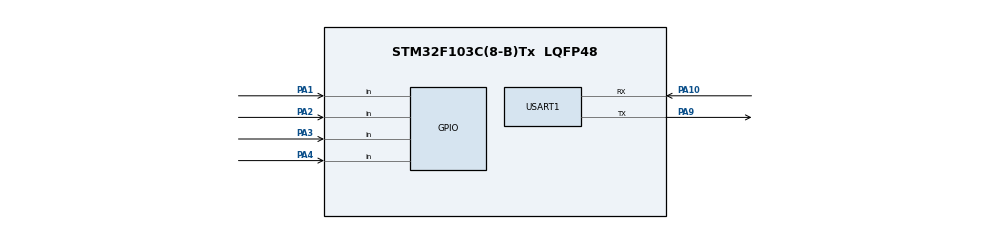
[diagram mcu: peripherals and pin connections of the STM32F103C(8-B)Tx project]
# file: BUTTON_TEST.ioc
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Mcu.Family=STM32F1
Mcu.Name=STM32F103C(8-B)Tx
Mcu.Package=LQFP48
NVIC.PriorityGroup=NVIC_PRIORITYGROUP_4
PA1.GPIO_PuPd=GPIO_PULLUP
PA1.Signal=GPIO_Input
PA10.Mode=Asynchronous
PA10.Signal=USART1_RX
PA13.Mode=Serial_Wire
PA13.Signal=SYS_JTMS-SWDIO
PA14.Mode=Serial_Wire
PA14.Signal=SYS_JTCK-SWCLK
PA2.GPIO_PuPd=GPIO_PULLUP
PA2.Signal=GPIO_Input
PA3.GPIO_PuPd=GPIO_PULLUP
PA3.Signal=GPIO_Input
PA4.GPIO_PuPd=GPIO_PULLUP
PA4.Signal=GPIO_Input
PA9.Mode=Asynchronous
PA9.Signal=USART1_TX
ProjectManager.HeapSize=0x200
ProjectManager.StackSize=0x400
ProjectManager.TargetToolchain=Makefile
RCC.APB1Freq_Value=8000000
RCC.APB2Freq_Value=8000000
USART1.VirtualMode=VM_ASYNC
board=custom

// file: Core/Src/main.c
/* USER CODE BEGIN Header */
/**
  ******************************************************************************
  * @file           : main.c
  * @brief          : Main program body
  ******************************************************************************
  * @attention
  *
  * Copyright (c) 2026 STMicroelectronics.
  * All rights reserved.
  *
  * This software is licensed under terms that can be found in the LICENSE file
  * in the root directory of this software component.
  * If no LICENSE file comes with this software, it is provided AS-IS.
  *
  ******************************************************************************
  */
/* USER CODE END Header */
#include "main.h"

UART_HandleTypeDef huart1;

void SystemClock_Config(void);
static void MX_GPIO_Init(void);
static void MX_USART1_UART_Init(void);

int main(void)
{

  /* MCU Configuration--------------------------------------------------------*/

  /* Reset of all peripherals, Initializes the Flash interface and the Systick. */
  HAL_Init();

  /* Configure the system clock */
  SystemClock_Config();

  /* Initialize all configured peripherals */
  MX_GPIO_Init();
  MX_USART1_UART_Init();

  /* Infinite loop */
  /* USER CODE BEGIN WHILE */
  while (1)
  {
    // --- 测试 PA1 ---
    if(HAL_GPIO_ReadPin(GPIOA, GPIO_PIN_1) == GPIO_PIN_RESET)
    {
      HAL_Delay(20); // 消抖
      if(HAL_GPIO_ReadPin(GPIOA, GPIO_PIN_1) == GPIO_PIN_RESET)
      {
        uint8_t val = 1;
        HAL_UART_Transmit(&huart1, &val, 1, HAL_MAX_DELAY);
        while(HAL_GPIO_ReadPin(GPIOA, GPIO_PIN_1) == GPIO_PIN_RESET); // 等待释放
      }
    }

    // --- 测试 PA2 ---
    else if(HAL_GPIO_ReadPin(GPIOA, GPIO_PIN_2) == GPIO_PIN_RESET)
    {
      HAL_Delay(20);
      if(HAL_GPIO_ReadPin(GPIOA, GPIO_PIN_2) == GPIO_PIN_RESET)
      {
        uint8_t val = 2;
        HAL_UART_Transmit(&huart1, &val, 1, HAL_MAX_DELAY);
        while(HAL_GPIO_ReadPin(GPIOA, GPIO_PIN_2) == GPIO_PIN_RESET);
      }
    }

    // --- 测试 PA3 ---
    else if(HAL_GPIO_ReadPin(GPIOA, GPIO_PIN_3) == GPIO_PIN_RESET)
    {
      HAL_Delay(20);
      if(HAL_GPIO_ReadPin(GPIOA, GPIO_PIN_3) == GPIO_PIN_RESET)
      {
        uint8_t val = 3;
        HAL_UART_Transmit(&huart1, &val, 1, HAL_MAX_DELAY);
        while(HAL_GPIO_ReadPin(GPIOA, GPIO_PIN_3) == GPIO_PIN_RESET);
      }
    }

    // --- 测试 PA4 ---
    else if(HAL_GPIO_ReadPin(GPIOA, GPIO_PIN_4) == GPIO_PIN_RESET)
    {
      HAL_Delay(20);
      if(HAL_GPIO_ReadPin(GPIOA, GPIO_PIN_4) == GPIO_PIN_RESET)
      {
        uint8_t val = 4;
        HAL_UART_Transmit(&huart1, &val, 1, HAL_MAX_DELAY);
        while(HAL_GPIO_ReadPin(GPIOA, GPIO_PIN_4) == GPIO_PIN_RESET);
      }
    }
  }
    /* USER CODE END WHILE */

  }

void SystemClock_Config(void)
{
  RCC_OscInitTypeDef RCC_OscInitStruct = {0};
  RCC_ClkInitTypeDef RCC_ClkInitStruct = {0};

  /** Initializes the RCC Oscillators according to the specified parameters
  * in the RCC_OscInitTypeDef structure.
  */
  RCC_OscInitStruct.OscillatorType = RCC_OSCILLATORTYPE_HSI;
  RCC_OscInitStruct.HSIState = RCC_HSI_ON;
  RCC_OscInitStruct.HSICalibrationValue = RCC_HSICALIBRATION_DEFAULT;
  RCC_OscInitStruct.PLL.PLLState = RCC_PLL_NONE;
  if (HAL_RCC_OscConfig(&RCC_OscInitStruct) != HAL_OK)
  {
    Error_Handler();
  }

  /** Initializes the CPU, AHB and APB buses clocks
  */
  RCC_ClkInitStruct.ClockType = RCC_CLOCKTYPE_HCLK|RCC_CLOCKTYPE_SYSCLK
                              |RCC_CLOCKTYPE_PCLK1|RCC_CLOCKTYPE_PCLK2;
  RCC_ClkInitStruct.SYSCLKSource = RCC_SYSCLKSOURCE_HSI;
  RCC_ClkInitStruct.AHBCLKDivider = RCC_SYSCLK_DIV1;
  RCC_ClkInitStruct.APB1CLKDivider = RCC_HCLK_DIV1;
  RCC_ClkInitStruct.APB2CLKDivider = RCC_HCLK_DIV1;

  if (HAL_RCC_ClockConfig(&RCC_ClkInitStruct, FLASH_LATENCY_0) != HAL_OK)
  {
    Error_Handler();
  }
}

static void MX_USART1_UART_Init(void)
{

  huart1.Instance = USART1;
  huart1.Init.BaudRate = 115200;
  huart1.Init.WordLength = UART_WORDLENGTH_8B;
  huart1.Init.StopBits = UART_STOPBITS_1;
  huart1.Init.Parity = UART_PARITY_NONE;
  huart1.Init.Mode = UART_MODE_TX_RX;
  huart1.Init.HwFlowCtl = UART_HWCONTROL_NONE;
  huart1.Init.OverSampling = UART_OVERSAMPLING_16;
  if (HAL_UART_Init(&huart1) != HAL_OK)
  {
    Error_Handler();
  }

}

static void MX_GPIO_Init(void)
{
  GPIO_InitTypeDef GPIO_InitStruct = {0};

  /* GPIO Ports Clock Enable */
  __HAL_RCC_GPIOA_CLK_ENABLE();

  /*Configure GPIO pins : PA1 PA2 PA3 PA4 */
  GPIO_InitStruct.Pin = GPIO_PIN_1|GPIO_PIN_2|GPIO_PIN_3|GPIO_PIN_4;
  GPIO_InitStruct.Mode = GPIO_MODE_INPUT;
  GPIO_InitStruct.Pull = GPIO_PULLUP;
  HAL_GPIO_Init(GPIOA, &GPIO_InitStruct);

}

void Error_Handler(void)
{
  __disable_irq();
  while (1)
  {
  }
}
